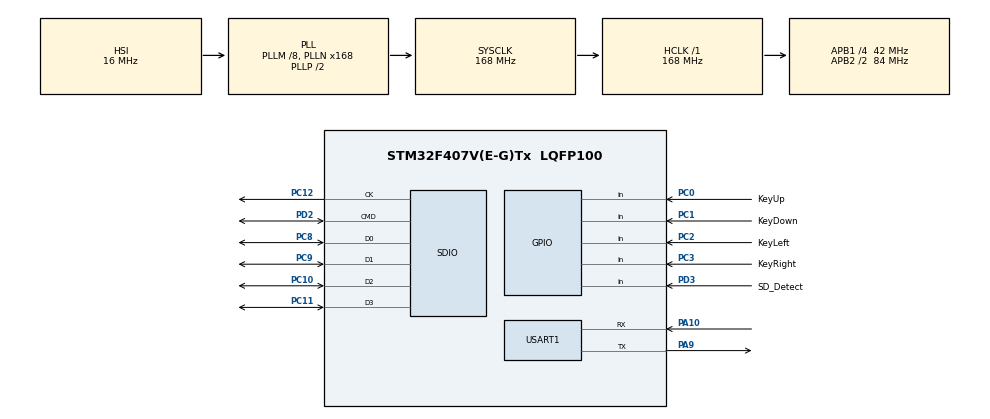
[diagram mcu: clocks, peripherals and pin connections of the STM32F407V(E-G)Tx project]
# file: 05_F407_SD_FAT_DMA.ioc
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Dma.Request0=SDIO_TX
Dma.Request1=SDIO_RX
Dma.SDIO_RX.1.Direction=DMA_PERIPH_TO_MEMORY
Dma.SDIO_RX.1.FIFOMode=DMA_FIFOMODE_ENABLE
Dma.SDIO_RX.1.FIFOThreshold=DMA_FIFO_THRESHOLD_FULL
Dma.SDIO_RX.1.Instance=DMA2_Stream3
Dma.SDIO_RX.1.MemBurst=DMA_MBURST_INC4
Dma.SDIO_RX.1.MemDataAlignment=DMA_MDATAALIGN_WORD
Dma.SDIO_RX.1.MemInc=DMA_MINC_ENABLE
Dma.SDIO_RX.1.Mode=DMA_PFCTRL
Dma.SDIO_RX.1.PeriphBurst=DMA_PBURST_INC4
Dma.SDIO_RX.1.PeriphDataAlignment=DMA_PDATAALIGN_WORD
Dma.SDIO_RX.1.PeriphInc=DMA_PINC_DISABLE
Dma.SDIO_RX.1.Priority=DMA_PRIORITY_HIGH
Dma.SDIO_TX.0.Direction=DMA_MEMORY_TO_PERIPH
Dma.SDIO_TX.0.FIFOMode=DMA_FIFOMODE_ENABLE
Dma.SDIO_TX.0.FIFOThreshold=DMA_FIFO_THRESHOLD_FULL
Dma.SDIO_TX.0.Instance=DMA2_Stream6
Dma.SDIO_TX.0.MemBurst=DMA_MBURST_INC4
Dma.SDIO_TX.0.MemDataAlignment=DMA_MDATAALIGN_WORD
Dma.SDIO_TX.0.MemInc=DMA_MINC_ENABLE
Dma.SDIO_TX.0.Mode=DMA_PFCTRL
Dma.SDIO_TX.0.PeriphBurst=DMA_PBURST_INC4
Dma.SDIO_TX.0.PeriphDataAlignment=DMA_PDATAALIGN_WORD
Dma.SDIO_TX.0.PeriphInc=DMA_PINC_DISABLE
Dma.SDIO_TX.0.Priority=DMA_PRIORITY_HIGH
FATFS.USE_DMA_CODE_SD=1
FATFS._CODE_PAGE=936
FATFS._USE_LFN=3
Mcu.Family=STM32F4
Mcu.Name=STM32F407V(E-G)Tx
Mcu.Package=LQFP100
NVIC.DMA2_Stream3_IRQn=true\:2\:0\:true\:false\:true\:false\:true\:true
NVIC.DMA2_Stream6_IRQn=true\:2\:0\:true\:false\:true\:false\:true\:true
NVIC.PriorityGroup=NVIC_PRIORITYGROUP_4
NVIC.SDIO_IRQn=true\:1\:0\:true\:false\:true\:true\:true\:true
PA10.Mode=Asynchronous
PA10.Signal=USART1_RX
PA13.Mode=Serial_Wire
PA13.Signal=SYS_JTMS-SWDIO
PA14.Mode=Serial_Wire
PA14.Signal=SYS_JTCK-SWCLK
PA9.Mode=Asynchronous
PA9.Signal=USART1_TX
PC0.GPIO_Label=KeyUp
PC0.GPIO_PuPd=GPIO_PULLUP
PC0.Signal=GPIO_Input
PC1.GPIO_Label=KeyDown
PC1.GPIO_PuPd=GPIO_PULLUP
PC1.Signal=GPIO_Input
PC10.Mode=SD_4_bits_Wide_bus
PC10.Signal=SDIO_D2
PC11.Mode=SD_4_bits_Wide_bus
PC11.Signal=SDIO_D3
PC12.Mode=SD_4_bits_Wide_bus
PC12.Signal=SDIO_CK
PC14-OSC32_IN.Mode=LSE-External-Oscillator
PC14-OSC32_IN.Signal=RCC_OSC32_IN
PC15-OSC32_OUT.Mode=LSE-External-Oscillator
PC15-OSC32_OUT.Signal=RCC_OSC32_OUT
PC2.GPIO_Label=KeyLeft
PC2.GPIO_PuPd=GPIO_PULLUP
PC2.Signal=GPIO_Input
PC3.GPIO_Label=KeyRight
PC3.GPIO_PuPd=GPIO_PULLUP
PC3.Signal=GPIO_Input
PC8.Mode=SD_4_bits_Wide_bus
PC8.Signal=SDIO_D0
PC9.Mode=SD_4_bits_Wide_bus
PC9.Signal=SDIO_D1
PD2.Mode=SD_4_bits_Wide_bus
PD2.Signal=SDIO_CMD
PD3.GPIO_Label=SD_Detect
PD3.GPIO_PuPd=GPIO_PULLUP
PD3.Signal=GPIO_Input
PH0-OSC_IN.Mode=HSE-External-Oscillator
PH0-OSC_IN.Signal=RCC_OSC_IN
PH1-OSC_OUT.Mode=HSE-External-Oscillator
PH1-OSC_OUT.Signal=RCC_OSC_OUT
ProjectManager.HeapSize=0x200
ProjectManager.StackSize=0x400
ProjectManager.TargetToolchain=MDK-ARM V5.32
RCC.48MHZClocksFreq_Value=48000000
RCC.AHBFreq_Value=168000000
RCC.APB1CLKDivider=RCC_HCLK_DIV4
RCC.APB1Freq_Value=42000000
RCC.APB1TimFreq_Value=84000000
RCC.APB2CLKDivider=RCC_HCLK_DIV2
RCC.APB2Freq_Value=84000000
RCC.APB2TimFreq_Value=168000000
RCC.CortexFreq_Value=168000000
RCC.HCLKFreq_Value=168000000
RCC.HSE_VALUE=25000000
RCC.HSI_VALUE=16000000
RCC.PLLM=8
RCC.PLLN=168
RCC.PLLQ=7
RCC.RCC_RTC_Clock_SourceVirtual=RCC_RTCCLKSOURCE_LSE
RCC.SYSCLKFreq_VALUE=168000000
RCC.SYSCLKSource=RCC_SYSCLKSOURCE_PLLCLK
RCC.VCOOutputFreq_Value=336000000
RTC.Format=RTC_FORMAT_BIN
RTC.Hours=15
SDIO.ClockDiv=4
USART1.VirtualMode=VM_ASYNC
VP_FATFS_VS_SDIO.Mode=SDIO
VP_RTC_VS_RTC_Activate.Mode=RTC_Enabled
VP_RTC_VS_RTC_Calendar.Mode=RTC_Calendar
board=custom

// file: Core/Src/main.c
/* USER CODE BEGIN Header */
/**
  ******************************************************************************
  * @file           : main.c
  * @brief          : Main program body
  ******************************************************************************
  * @attention
  *
  * Copyright (c) 2025 STMicroelectronics.
  * All rights reserved.
  *
  * This software is licensed under terms that can be found in the LICENSE file
  * in the root directory of this software component.
  * If no LICENSE file comes with this software, it is provided AS-IS.
  *
  ******************************************************************************
  */
/* USER CODE END Header */
#include "main.h"
#include "fatfs.h"

/* USER CODE BEGIN Includes */
#include "file_opera.h"
#include "keyled.h"
#include "sd_card.h"
/* USER CODE END Includes */

/* USER CODE BEGIN PD */

 #ifdef __GNUC__
     #define PUTCHAR_PROTOTYPE int _io_putchar(int ch)
 #else
     #define PUTCHAR_PROTOTYPE int fputc(int ch, FILE *f)
 #endif /* __GNUC__*/

 /******************************************************************
     *@brief  Retargets the C library printf  function to the USART.
     *@param  None
     *@retval None
 ******************************************************************/
 PUTCHAR_PROTOTYPE
 {
     HAL_UART_Transmit(&huart1, (uint8_t *)&ch,1,0xFFFF);
     return ch;
 }
/* USER CODE END PD */

RTC_HandleTypeDef hrtc;

SD_HandleTypeDef hsd;
DMA_HandleTypeDef hdma_sdio_tx;
DMA_HandleTypeDef hdma_sdio_rx;

UART_HandleTypeDef huart1;

void SystemClock_Config(void);
static void MX_GPIO_Init(void);
static void MX_DMA_Init(void);
static void MX_SDIO_SD_Init(void);
static void MX_USART1_UART_Init(void);
static void MX_RTC_Init(void);

/* USER CODE BEGIN 0 */
	BYTE workBuffer[4 * BLOCKSIZE];
/* USER CODE END 0 */

int main(void)
{

  /* MCU Configuration--------------------------------------------------------*/

  /* Reset of all peripherals, Initializes the Flash interface and the Systick. */
  HAL_Init();

  /* Configure the system clock */
  SystemClock_Config();

  /* Initialize all configured peripherals */
  MX_GPIO_Init();
  MX_DMA_Init();
  MX_SDIO_SD_Init();
  MX_USART1_UART_Init();
  MX_RTC_Init();
  MX_FATFS_Init();
  /* USER CODE BEGIN 2 */

	printf("Demo05: DMA_FatFS on SD card\r\n");
	FRESULT res = f_mount(&SDFatFS, "0:", 1);
	if (res == FR_OK)
	{
		printf("FatFS mount OK\r\n");
	} else {
		printf("No file system\r\n");
	}

	printf("[1] KeyUp = Format SD card\r\n");
	printf("[2] KeyLeft = FAT disk info\r\n");
	printf("[3] KeyRight = SD card info\r\n");
	printf("[4] KeyDown = Next menu page\r\n");

	KEYS waitKey;
  /* USER CODE END 2 */

  /* Infinite loop */
  /* USER CODE BEGIN WHILE */
	while (1)
	{
		waitKey = ScanPressedKey(KEY_WAIT_ALWAYS);
		if (waitKey == KEY_UP)
		{
			printf("\r\n");
			DWORD cluster_size = 0;
			printf("Formatting the chip...\r\n");
			FRESULT res = f_mkfs("0:", FM_FAT32, cluster_size, workBuffer, 4 * BLOCKSIZE);
			if (res == FR_OK)
			{
				printf("Format OK, to reset\r\n");
			}
			else
			{
				printf("Format Fail, to reset\r\n");
			}

		}
		else if (waitKey == KEY_DOWN)
		{
			printf("\r\n");
			fatTest_GetDiskInfo();

		}
		else if (waitKey == KEY_LEFT)
		{
			printf("\r\n");
			SDCard_ShowInfo();

		}
		else if (waitKey == KEY_RIGHT)
		{
			break;
		}
		printf("Reselect menu item or reset\r\n");
		printf("\r\n");
		HAL_Delay(500);
	}

	printf("[5] KeyUp = Write files          \r\n");
	printf("[6] KeyLeft = Read a TXT file    \r\n");
	printf("[7] KeyRight = Read a BIN file   \r\n");
	printf("[8] KeyDown = Get a file info    \r\n");
	HAL_Delay(500);

	while (1)
	{
		waitKey = ScanPressedKey(KEY_WAIT_ALWAYS);
		if (waitKey == KEY_UP)
		{
			printf("\r\n");
			fatTest_WriteTXTFile("DMA_readme.txt", 2019, 3, 5);
			printf("Write file OK: DMA_readme.txt\r\n");
			fatTest_WriteTXTFile("DMA_help.txt", 2016, 11, 15);
			printf("Write file OK: DMA_help.txt\r\n");
			fatTest_WriteBinFile("DMA_ADC500.dat", 20, 500);
			printf("Write file OK: DMA_ADC500.dat\r\n");
			fatTest_WriteBinFile("DMA_ADC1000.dat", 50, 1000);
			printf("Write file OK: DMA_ADC1000.dat\r\n");
			f_mkdir("0:/DMA_SubDir1");
			f_mkdir("0:/DMA_MyDocs");

		}
		else if (waitKey == KEY_LEFT)
		{
			printf("\r\n");
			fatTest_ReadTXTFile("readme.txt");

		}
		else if (waitKey == KEY_RIGHT)
		{
			printf("\r\n");
			fatTest_ReadBinFile("ADC500.dat");

		}
		else if (waitKey == KEY_DOWN)
		{
			printf("\r\n");
			fatTest_GetFileInfo("ADC1000.dat");

		}
		printf("Reselect menu item or reset\r\n");
		printf("\r\n");
		HAL_Delay(500);
	}
  while (1)
  {
    /* USER CODE END WHILE */

  }
}

void SystemClock_Config(void)
{
  RCC_OscInitTypeDef RCC_OscInitStruct = {0};
  RCC_ClkInitTypeDef RCC_ClkInitStruct = {0};

  /** Configure the main internal regulator output voltage
  */
  __HAL_RCC_PWR_CLK_ENABLE();
  __HAL_PWR_VOLTAGESCALING_CONFIG(PWR_REGULATOR_VOLTAGE_SCALE1);

  /** Initializes the RCC Oscillators according to the specified parameters
  * in the RCC_OscInitTypeDef structure.
  */
  RCC_OscInitStruct.OscillatorType = RCC_OSCILLATORTYPE_HSI|RCC_OSCILLATORTYPE_LSE;
  RCC_OscInitStruct.LSEState = RCC_LSE_ON;
  RCC_OscInitStruct.HSIState = RCC_HSI_ON;
  RCC_OscInitStruct.HSICalibrationValue = RCC_HSICALIBRATION_DEFAULT;
  RCC_OscInitStruct.PLL.PLLState = RCC_PLL_ON;
  RCC_OscInitStruct.PLL.PLLSource = RCC_PLLSOURCE_HSI;
  RCC_OscInitStruct.PLL.PLLM = 8;
  RCC_OscInitStruct.PLL.PLLN = 168;
  RCC_OscInitStruct.PLL.PLLP = RCC_PLLP_DIV2;
  RCC_OscInitStruct.PLL.PLLQ = 7;
  if (HAL_RCC_OscConfig(&RCC_OscInitStruct) != HAL_OK)
  {
    Error_Handler();
  }

  /** Initializes the CPU, AHB and APB buses clocks
  */
  RCC_ClkInitStruct.ClockType = RCC_CLOCKTYPE_HCLK|RCC_CLOCKTYPE_SYSCLK
                              |RCC_CLOCKTYPE_PCLK1|RCC_CLOCKTYPE_PCLK2;
  RCC_ClkInitStruct.SYSCLKSource = RCC_SYSCLKSOURCE_PLLCLK;
  RCC_ClkInitStruct.AHBCLKDivider = RCC_SYSCLK_DIV1;
  RCC_ClkInitStruct.APB1CLKDivider = RCC_HCLK_DIV4;
  RCC_ClkInitStruct.APB2CLKDivider = RCC_HCLK_DIV2;

  if (HAL_RCC_ClockConfig(&RCC_ClkInitStruct, FLASH_LATENCY_5) != HAL_OK)
  {
    Error_Handler();
  }
}

static void MX_RTC_Init(void)
{

  RTC_TimeTypeDef sTime = {0};
  RTC_DateTypeDef sDate = {0};

  /** Initialize RTC Only
  */
  hrtc.Instance = RTC;
  hrtc.Init.HourFormat = RTC_HOURFORMAT_24;
  hrtc.Init.AsynchPrediv = 127;
  hrtc.Init.SynchPrediv = 255;
  hrtc.Init.OutPut = RTC_OUTPUT_DISABLE;
  hrtc.Init.OutPutPolarity = RTC_OUTPUT_POLARITY_HIGH;
  hrtc.Init.OutPutType = RTC_OUTPUT_TYPE_OPENDRAIN;
  if (HAL_RTC_Init(&hrtc) != HAL_OK)
  {
    Error_Handler();
  }

  /** Initialize RTC and set the Time and Date
  */
  sTime.Hours = 15;
  sTime.Minutes = 0;
  sTime.Seconds = 0;
  sTime.DayLightSaving = RTC_DAYLIGHTSAVING_NONE;
  sTime.StoreOperation = RTC_STOREOPERATION_RESET;
  if (HAL_RTC_SetTime(&hrtc, &sTime, RTC_FORMAT_BIN) != HAL_OK)
  {
    Error_Handler();
  }
  sDate.WeekDay = RTC_WEEKDAY_MONDAY;
  sDate.Month = RTC_MONTH_JANUARY;
  sDate.Date = 1;
  sDate.Year = 0;

  if (HAL_RTC_SetDate(&hrtc, &sDate, RTC_FORMAT_BIN) != HAL_OK)
  {
    Error_Handler();
  }

}

static void MX_SDIO_SD_Init(void)
{

  hsd.Instance = SDIO;
  hsd.Init.ClockEdge = SDIO_CLOCK_EDGE_RISING;
  hsd.Init.ClockBypass = SDIO_CLOCK_BYPASS_DISABLE;
  hsd.Init.ClockPowerSave = SDIO_CLOCK_POWER_SAVE_DISABLE;
  hsd.Init.BusWide = SDIO_BUS_WIDE_1B;
  hsd.Init.HardwareFlowControl = SDIO_HARDWARE_FLOW_CONTROL_DISABLE;
  hsd.Init.ClockDiv = 4;

}

static void MX_USART1_UART_Init(void)
{

  huart1.Instance = USART1;
  huart1.Init.BaudRate = 115200;
  huart1.Init.WordLength = UART_WORDLENGTH_8B;
  huart1.Init.StopBits = UART_STOPBITS_1;
  huart1.Init.Parity = UART_PARITY_NONE;
  huart1.Init.Mode = UART_MODE_TX_RX;
  huart1.Init.HwFlowCtl = UART_HWCONTROL_NONE;
  huart1.Init.OverSampling = UART_OVERSAMPLING_16;
  if (HAL_UART_Init(&huart1) != HAL_OK)
  {
    Error_Handler();
  }

}

static void MX_DMA_Init(void)
{

  /* DMA controller clock enable */
  __HAL_RCC_DMA2_CLK_ENABLE();

  /* DMA interrupt init */
  /* DMA2_Stream3_IRQn interrupt configuration */
  HAL_NVIC_SetPriority(DMA2_Stream3_IRQn, 2, 0);
  HAL_NVIC_EnableIRQ(DMA2_Stream3_IRQn);
  /* DMA2_Stream6_IRQn interrupt configuration */
  HAL_NVIC_SetPriority(DMA2_Stream6_IRQn, 2, 0);
  HAL_NVIC_EnableIRQ(DMA2_Stream6_IRQn);

}

static void MX_GPIO_Init(void)
{
  GPIO_InitTypeDef GPIO_InitStruct = {0};

  /* GPIO Ports Clock Enable */
  __HAL_RCC_GPIOC_CLK_ENABLE();
  __HAL_RCC_GPIOH_CLK_ENABLE();
  __HAL_RCC_GPIOA_CLK_ENABLE();
  __HAL_RCC_GPIOD_CLK_ENABLE();

  /*Configure GPIO pins : KeyUp_Pin KeyDown_Pin KeyLeft_Pin KeyRight_Pin */
  GPIO_InitStruct.Pin = KeyUp_Pin|KeyDown_Pin|KeyLeft_Pin|KeyRight_Pin;
  GPIO_InitStruct.Mode = GPIO_MODE_INPUT;
  GPIO_InitStruct.Pull = GPIO_PULLUP;
  HAL_GPIO_Init(GPIOC, &GPIO_InitStruct);

  /*Configure GPIO pin : SD_Detect_Pin */
  GPIO_InitStruct.Pin = SD_Detect_Pin;
  GPIO_InitStruct.Mode = GPIO_MODE_INPUT;
  GPIO_InitStruct.Pull = GPIO_PULLUP;
  HAL_GPIO_Init(SD_Detect_GPIO_Port, &GPIO_InitStruct);

}

void Error_Handler(void)
{
  __disable_irq();
  while (1)
  {
  }
}
